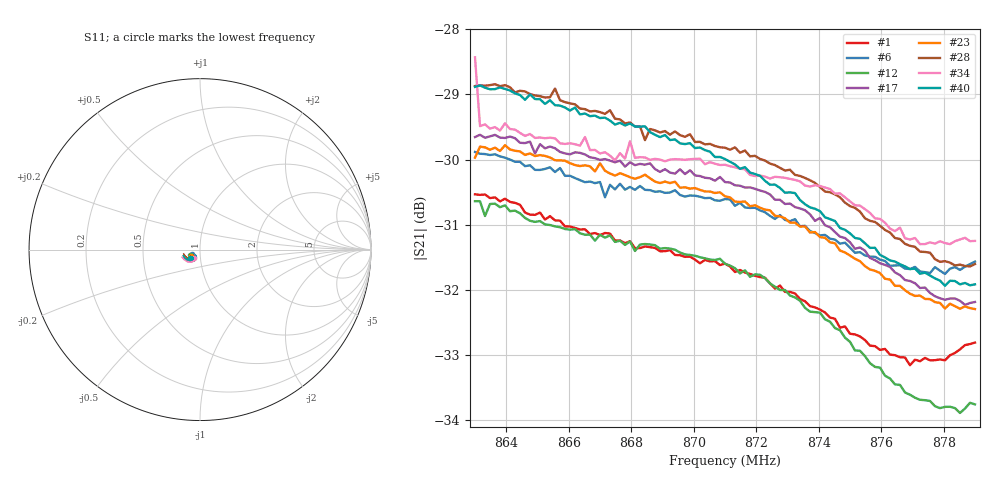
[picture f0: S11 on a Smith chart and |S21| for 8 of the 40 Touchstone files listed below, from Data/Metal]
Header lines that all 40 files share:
# HZ S RI R 50
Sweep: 863 MHz to 879 MHz
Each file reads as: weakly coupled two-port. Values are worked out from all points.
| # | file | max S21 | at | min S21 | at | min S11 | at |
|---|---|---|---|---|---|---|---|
| 1 | mo27s7.s2p | -30.53 dB | 863 MHz | -33.2 dB | 876.92 MHz | -26.9 dB | 866.36 MHz |
| 2 | mo28s1.s2p | -31.62 dB | 863 MHz | -33.3 dB | 876.44 MHz | -31.6 dB | 866.04 MHz |
| 3 | mo28s4.s2p | -31.98 dB | 879 MHz | -33.0 dB | 875.48 MHz | -34.1 dB | 866.2 MHz |
| 4 | mo28s5.s2p | -31.08 dB | 863 MHz | -33.0 dB | 876.92 MHz | -30.1 dB | 866.04 MHz |
| 5 | mo28s6.s2p | -30.21 dB | 863 MHz | -32.3 dB | 877.88 MHz | -26.9 dB | 867.32 MHz |
| 6 | mo28s7.s2p | -29.88 dB | 863 MHz | -31.8 dB | 878.04 MHz | -27.7 dB | 866.04 MHz |
| 7 | mo28s8.s2p | -30.17 dB | 863 MHz | -32.5 dB | 878.84 MHz | -26.1 dB | 866.04 MHz |
| 8 | mo28s9.s2p | -30.51 dB | 863.16 MHz | -32.9 dB | 878.04 MHz | -26.4 dB | 865.72 MHz |
| 9 | mo28s10.s2p | -30.19 dB | 863 MHz | -31.2 dB | 876.92 MHz | -29.6 dB | 865.24 MHz |
| 10 | mo29s0.s2p | -29.78 dB | 863 MHz | -32.1 dB | 878.84 MHz | -25.6 dB | 865.4 MHz |
| 11 | mo29s3.s2p | -30.52 dB | 863 MHz | -34.5 dB | 879 MHz | -26.4 dB | 867.96 MHz |
| 12 | mo29s4.s2p | -30.64 dB | 863 MHz | -33.9 dB | 878.52 MHz | -26.4 dB | 867.96 MHz |
| 13 | mo29s6.s2p | -30.58 dB | 863 MHz | -34.3 dB | 878.52 MHz | -28.2 dB | 867.8 MHz |
| 14 | mo29s7.s2p | -30.71 dB | 863 MHz | -34.1 dB | 879 MHz | -27.0 dB | 867.8 MHz |
| 15 | mo30s0.s2p | -29.33 dB | 867.32 MHz | -32.8 dB | 878.84 MHz | -25.9 dB | 866.04 MHz |
| 16 | mo30s1.s2p | -29.89 dB | 863 MHz | -32.3 dB | 878.68 MHz | -25.9 dB | 866.04 MHz |
| 17 | mo30s2.s2p | -29.62 dB | 863.16 MHz | -32.2 dB | 878.68 MHz | -25.1 dB | 866.04 MHz |
| 18 | mo30s3.s2p | -29.55 dB | 863.48 MHz | -32.2 dB | 879 MHz | -24.8 dB | 866.52 MHz |
| 19 | mo30s4.s2p | -29.59 dB | 863.8 MHz | -32.3 dB | 878.84 MHz | -25.2 dB | 866.68 MHz |
| 20 | mo30s5.s2p | -29.71 dB | 864.6 MHz | -32.4 dB | 878.52 MHz | -26.0 dB | 866.04 MHz |
| 21 | mo30s6.s2p | -29.55 dB | 863.64 MHz | -32.3 dB | 878.36 MHz | -25.2 dB | 865.72 MHz |
| 22 | mo30s7.s2p | -29.35 dB | 863.16 MHz | -31.9 dB | 879 MHz | -24.4 dB | 866.04 MHz |
| 23 | mo30s9.s2p | -29.78 dB | 863.96 MHz | -32.3 dB | 879 MHz | -25.3 dB | 866.04 MHz |
| 24 | mo31s0.s2p | -28.86 dB | 863.96 MHz | -31.4 dB | 879 MHz | -23.3 dB | 865.4 MHz |
| 25 | mo31s3.s2p | -29.57 dB | 863 MHz | -32.0 dB | 878.04 MHz | -26.3 dB | 865.56 MHz |
| 26 | mo31s6.s2p | -29.48 dB | 863.16 MHz | -31.6 dB | 877.88 MHz | -25.9 dB | 865.56 MHz |
| 27 | mo31s7.s2p | -29.48 dB | 863.16 MHz | -31.4 dB | 877.88 MHz | -26.2 dB | 865.24 MHz |
| 28 | mo31s8.s2p | -28.84 dB | 863.64 MHz | -31.6 dB | 878.84 MHz | -23.8 dB | 867.32 MHz |
| 29 | mo31s11.s2p | -29.15 dB | 863.32 MHz | -31.7 dB | 878.84 MHz | -24.9 dB | 867.96 MHz |
| 30 | mo32s0.s2p | -28.91 dB | 866.36 MHz | -31.5 dB | 878.84 MHz | -25.1 dB | 866.36 MHz |
| 31 | mo32s1.s2p | -29.26 dB | 863 MHz | -31.7 dB | 878.68 MHz | -24.6 dB | 866.36 MHz |
| 32 | mo32s3.s2p | -28.96 dB | 863.16 MHz | -31.7 dB | 879 MHz | -24.5 dB | 865.24 MHz |
| 33 | mo32s4.s2p | -29.05 dB | 863 MHz | -32.0 dB | 878.84 MHz | -24.8 dB | 865.56 MHz |
| 34 | mo32s5.s2p | -28.43 dB | 863 MHz | -31.3 dB | 878.2 MHz | -25.2 dB | 866.52 MHz |
| 35 | mo32s8.s2p | -28.98 dB | 863.16 MHz | -32.9 dB | 879 MHz | -24.5 dB | 868.28 MHz |
| 36 | mo32s9.s2p | -29.24 dB | 863.16 MHz | -32.2 dB | 879 MHz | -23.6 dB | 865.72 MHz |
| 37 | mo32s10.s2p | -29.55 dB | 863.64 MHz | -31.7 dB | 877.24 MHz | -25.7 dB | 865.4 MHz |
| 38 | mo33s0.s2p | -28.82 dB | 863.64 MHz | -31.8 dB | 878.84 MHz | -24.0 dB | 866.04 MHz |
| 39 | mo33s1.s2p | -28.85 dB | 864.44 MHz | -31.6 dB | 878.52 MHz | -24.0 dB | 866.04 MHz |
| 40 | mo33s2.s2p | -28.86 dB | 863.16 MHz | -31.9 dB | 878.04 MHz | -24.1 dB | 866.04 MHz |
